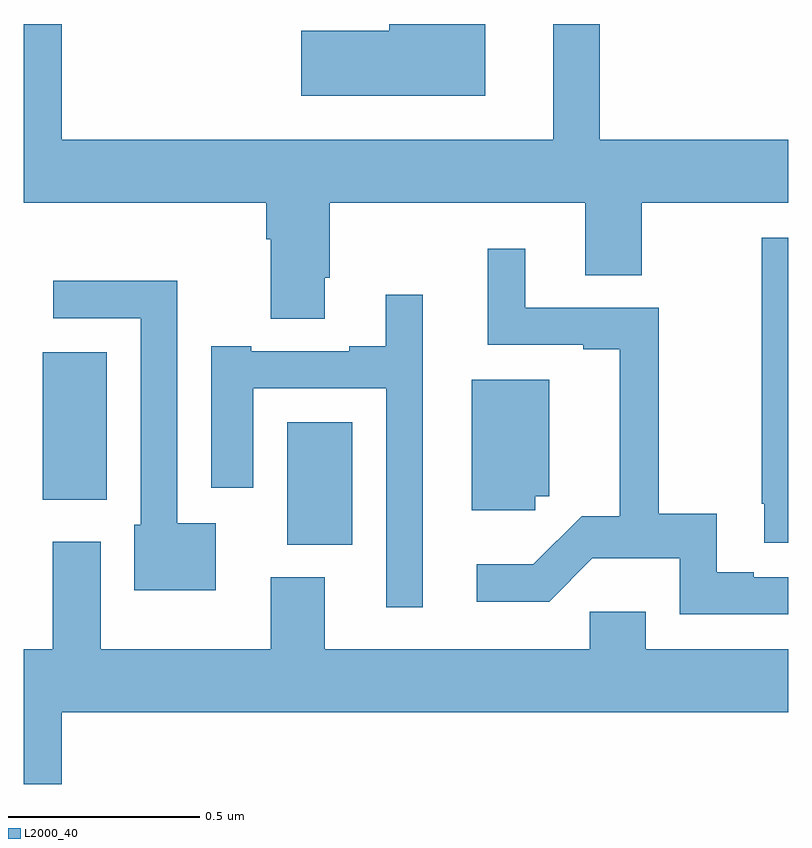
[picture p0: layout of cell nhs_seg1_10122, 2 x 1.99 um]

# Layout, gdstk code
import gdstk
lib = gdstk.Library(unit=1e-6, precision=1e-09)
def R(c, l, rs):  # rectangles x0, y0, x1, y1
    for r in rs: c.add(gdstk.rectangle(r[:2], r[2:], *l))
def P(c, l, *ps):  # polygons
    for p in ps: c.add(gdstk.Polygon(p, *l))
L2000_40 = (2000, 40)

nhs_seg1_10122 = lib.new_cell('nhs_seg1_10122')
R(nhs_seg1_10122, L2000_40, [(237.689,550.838,237.859,551.158), (237.05,550.955,237.217,551.341)])
P(nhs_seg1_10122, L2000_40, [(237.787,551.536),(237.8,551.536),(237.8,551.732),(238.469,551.732),(238.469,551.542),(238.617,551.542),(238.617,551.732),(239,551.732),(239,551.896),(238.507,551.896),(238.507,552.199),(238.385,552.199),(238.385,551.896),(237.1,551.896),(237.1,552.199),(237,552.199),(237,551.732),(237.635,551.732),(237.635,551.636),(237.647,551.636),(237.647,551.428),(237.787,551.428)],
  [(238.207,552.199),(237.956,552.199),(237.956,552.182),(237.726,552.182),(237.726,552.011),(238.207,552.011)],
  [(239,551.64),(238.93,551.64),(238.93,550.945),(238.936,550.945),(238.936,550.843),(239,550.843)],
  [(239,550.752),(238.909,550.752),(238.909,550.766),(238.812,550.766),(238.812,550.919),(238.661,550.919),(238.661,551.457),(238.312,551.457),(238.312,551.611),(238.214,551.611),(238.214,551.361),(238.463,551.361),(238.463,551.349),(238.559,551.349),(238.559,550.912),(238.459,550.912),(238.333,550.786),(238.185,550.786),(238.185,550.689),(238.374,550.689),(238.487,550.802),(238.716,550.802),(238.716,550.656),(239,550.656)],
  [(237.502,550.894),(237.402,550.894),(237.402,551.528),(237.078,551.528),(237.078,551.43),(237.306,551.43),(237.306,550.89),(237.29,550.89),(237.29,550.718),(237.502,550.718)],
  [(238.044,551.491),(237.947,551.491),(237.947,551.356),(237.851,551.356),(237.851,551.343),(237.595,551.343),(237.595,551.356),(237.491,551.356),(237.491,550.986),(237.601,550.986),(237.601,551.247),(237.948,551.247),(237.948,550.674),(238.044,550.674)],
  [(238.338,550.964),(238.375,550.964),(238.375,551.269),(238.172,551.269),(238.172,550.928),(238.338,550.928)],
  [(237.1,550.4),(239,550.4),(239,550.564),(238.627,550.564),(238.627,550.662),(238.481,550.662),(238.481,550.564),(237.787,550.564),(237.787,550.753),(237.647,550.753),(237.647,550.564),(237.202,550.564),(237.202,550.846),(237.077,550.846),(237.077,550.564),(237,550.564),(237,550.212),(237.1,550.212)])

lib.write_gds('nhs_seg1_10122.gds')
